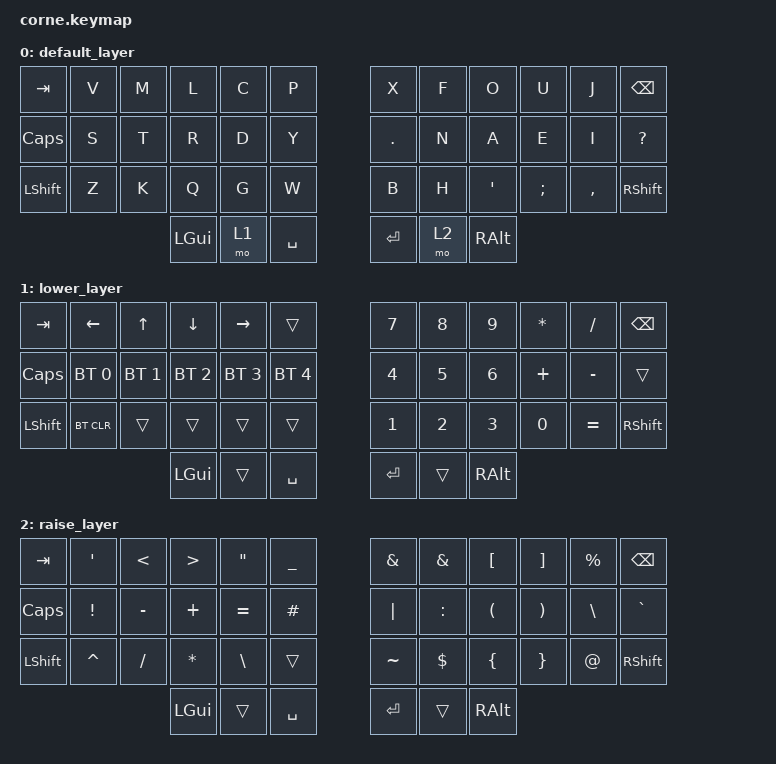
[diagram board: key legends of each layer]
/*
 * Copyright (c) 2020 The ZMK Contributors
 *
 * SPDX-License-Identifier: MIT
 */

#include <behaviors.dtsi>
#include <dt-bindings/zmk/bt.h>
#include <dt-bindings/zmk/keys.h>

/ {
    keymap {
        compatible = "zmk,keymap";

        default_layer {
            // -----------------------------------------------------------------------------------------
            // |  TAB |  Q  |  W  |  E  |  R  |  T  |   |  Y  |  U   |  I  |  O  |  P  | BKSP |
            // | CTRL |  A  |  S  |  D  |  F  |  G  |   |  H  |  J   |  K  |  L  |  ;  |  '   |
            // | SHFT |  Z  |  X  |  C  |  V  |  B  |   |  N  |  M   |  ,  |  .  |  /  | ESC  |
            //                    | GUI | LWR | SPC |   | ENT | RSE  | ALT |

            bindings = <
&kp TAB       &kp V  &kp M  &kp L     &kp C  &kp P        &kp X    &kp F  &kp O             &kp U          &kp J      &kp BSPC
&kp CAPSLOCK  &kp S  &kp T  &kp R     &kp D  &kp Y        &kp DOT  &kp N  &kp A             &kp E          &kp I      &kp QUESTION
&kp LSHFT     &kp Z  &kp K  &kp Q     &kp G  &kp W        &kp B    &kp H  &kp SINGLE_QUOTE  &kp SEMICOLON  &kp COMMA  &kp RIGHT_SHIFT
                            &kp LGUI  &mo 1  &kp SPACE    &kp RET  &mo 2  &kp RALT
            >;
        };

        lower_layer {
            // -----------------------------------------------------------------------------------------
            // |  TAB |  1  |  2  |  3  |  4  |  5  |   |  6  |  7  |  8  |  9  |  0  | BKSP |
            // | BTCLR| BT1 | BT2 | BT3 | BT4 | BT5 |   | LFT | DWN |  UP | RGT |     |      |
            // | SHFT |     |     |     |     |     |   |     |     |     |     |     |      |
            //                    | GUI |     | SPC |   | ENT |     | ALT |

            bindings = <
&kp TAB    &kp LEFT      &kp UP_ARROW  &kp DOWN      &kp RIGHT     &trans          &kp NUMBER_7  &kp NUMBER_8  &kp NUMBER_9  &kp ASTERISK  &kp SLASH  &kp BSPC
&kp CAPS   &bt BT_SEL 0  &bt BT_SEL 1  &bt BT_SEL 2  &bt BT_SEL 3  &bt BT_SEL 4    &kp NUMBER_4  &kp NUMBER_5  &kp NUMBER_6  &kp PLUS      &kp MINUS  &trans
&kp LSHFT  &bt BT_CLR    &trans        &trans        &trans        &trans          &kp NUMBER_1  &kp NUMBER_2  &kp NUMBER_3  &kp N0        &kp EQUAL  &kp RIGHT_SHIFT
                                       &kp LGUI      &trans        &kp SPACE       &kp RET       &trans        &kp RALT
            >;
        };

        raise_layer {
            // -----------------------------------------------------------------------------------------
            // |  TAB |  !  |  @  |  #  |  $  |  %  |   |  ^  |  &  |  *  |  (  |  )  | BKSP |
            // | CTRL |     |     |     |     |     |   |  -  |  =  |  [  |  ]  |  \  |  `   |
            // | SHFT |     |     |     |     |     |   |  _  |  +  |  {  |  }  | "|" |  ~   |
            //                    | GUI |     | SPC |   | ENT |     | ALT |

            bindings = <
&kp TAB       &kp SQT          &kp LESS_THAN  &kp GREATER_THAN  &kp DOUBLE_QUOTES  &kp UNDER    &kp AMPERSAND  &kp AMPS    &kp LEFT_BRACKET      &kp RIGHT_BRACKET      &kp PERCENT  &kp BSPC
&kp CAPSLOCK  &kp EXCLAMATION  &kp MINUS      &kp PLUS          &kp EQUAL          &kp HASH     &kp PIPE       &kp COLON   &kp LEFT_PARENTHESIS  &kp RIGHT_PARENTHESIS  &kp BSLH     &kp GRAVE
&kp LSHFT     &kp CARET        &kp SLASH      &kp ASTERISK      &kp BACKSLASH      &trans       &kp TILDE      &kp DOLLAR  &kp LBRC              &kp RBRC               &kp AT_SIGN  &kp RIGHT_SHIFT
                                              &kp LGUI          &trans             &kp SPACE    &kp RET        &trans      &kp RALT
            >;
        };
    };
};
